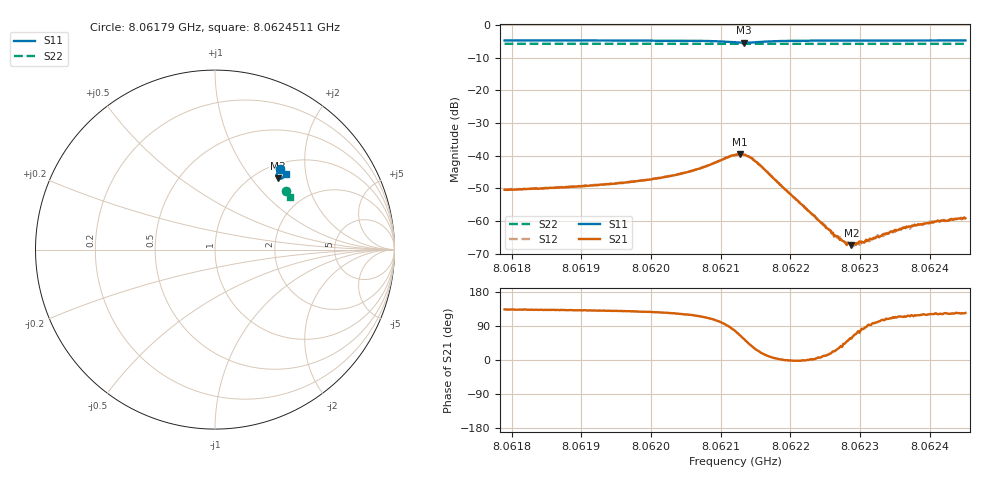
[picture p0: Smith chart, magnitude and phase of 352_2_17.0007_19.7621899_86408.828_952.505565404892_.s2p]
#  HZ  S  RI  R  50.00
! Rohde & Schwarz Vector Network Analyzer
! Rohde-Schwarz,ZNB20-2Port,1311601062101988,3.16
! Created: UTC 3/20/2024, 11:07:52 PM
! freq[Hz]  re:S11  im:S11  re:S21  im:S21  re:S12  im:S12  re:S22  im:S22
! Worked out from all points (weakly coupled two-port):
!   401 points, 8.06179 GHz to 8.0624511 GHz, reference 50 ohm
!   highest |S21| = -39.54 dB at 8.0621271 GHz (marker M1); lowest = -67.4 dB at 8.0622875 GHz (marker M2)
!   lowest |S11| = -5.5 dB at 8.0621338 GHz (marker M3), VSWR 3.27, Z = 61.7 + j68.7 ohm
!   |S11| at or under -10 dB: nowhere
!   |S22| runs from -5.9 to -5.8 dB; largest |S21 - S12| = 0.00072
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8.06178998e9  0.3637 0.4466  -0.00207 0.00217  -0.00193 0.00231  0.3965 0.3244
8.06190072e9  0.3711 0.4402  -0.00223 0.00256  -0.00214 0.00272  0.4006 0.3188
8.0619503e9  0.3749 0.4365  -0.00238 0.00288  -0.00225 0.00307  0.4024 0.3164
8.06201145e9  0.3797 0.4305  -0.00263 0.00367  -0.00243 0.00389  0.4048 0.3132
8.06206268e9  0.3841 0.4209  -0.00276 0.00534  -0.00244 0.00555  0.4065 0.3102
8.06212053e9  0.3668 0.3946  0.0023 0.00994  0.0029 0.00987  0.4074 0.3065
8.06212714e9  0.3586 0.3953  0.00434 0.00961  0.00483 0.00938  0.4072 0.3064
8.06213375e9  0.3506 0.3993  0.00591 0.00841  0.00641 0.00807  0.4072 0.3063
8.06214367e9  0.3438 0.4105  0.00728 0.00567  0.00762 0.00536  0.4074 0.3064
8.06215359e9  0.3443 0.4217  0.00677 0.00308  0.00718 0.00266  0.4079 0.3066
8.06223127e9  0.3725 0.4347  0.00127 1.75e-05  0.00125 -6.77e-05  0.4119 0.303
8.06226432e9  0.3776 0.4326  0.000547 0.000247  0.000548 0.000231  0.4133 0.3013
8.06227754e9  0.3791 0.4318  0.000355 0.000327  0.000388 0.000279  0.4138 0.3004
8.06228746e9  0.3802 0.4311  0.000236 0.000357  0.000282 0.000367  0.4142 0.3002
8.06230233e9  0.3816 0.4302  6.22e-05 0.000467  0.000116 0.000475  0.4148 0.2993
8.0623139e9  0.3829 0.4295  -2.37e-05 0.000534  1.33e-05 0.000489  0.4152 0.2987
8.06232712e9  0.3839 0.4287  -0.000116 0.000551  -8.82e-05 0.000588  0.4157 0.298
8.06233374e9  0.3847 0.4281  -0.000164 0.000604  -0.000147 0.000571  0.4158 0.2977
8.062342e9  0.3852 0.4278  -0.000215 0.000622  -0.000194 0.000676  0.4161 0.2973
8.06238001e9  0.3883 0.4255  -0.000394 0.000755  -0.000371 0.000741  0.4175 0.2954
8.06239654e9  0.3894 0.4245  -0.000461 0.000808  -0.00041 0.000835  0.418 0.2943
8.06245108e9  0.393 0.4215  -0.000617 0.000908  -0.000577 0.000992  0.4199 0.2915
